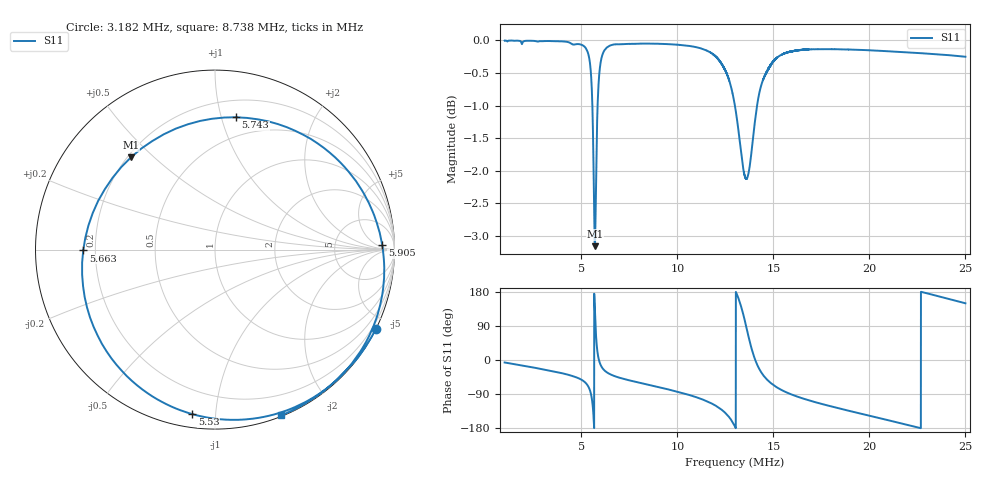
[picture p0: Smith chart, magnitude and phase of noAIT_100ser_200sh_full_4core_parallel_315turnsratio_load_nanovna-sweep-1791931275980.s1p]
! NanoVNA Web complex sweep
! Processing: unaveraged complex samples; linear segment spacing; no smoothing
# Hz S RI R 50
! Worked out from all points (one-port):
!   5050 points, 1 MHz to 25 MHz, reference 50 ohm
!   lowest |S11| = -3.2 dB at 5.701 MHz (marker M1), VSWR 5.56, Z = 10.7 + j21.2 ohm
!   |S11| at or under -10 dB: nowhere
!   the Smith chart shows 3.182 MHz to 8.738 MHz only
!   S11 on the Smith chart (normalised r, x): 3.182 MHz: 0.01, -4.29; 5.53 MHz: 0.07, -0.87; 5.663 MHz: 0.15, -0.00; 5.743 MHz: 0.33, +1.11; 5.905 MHz: 25, +9; 8.738 MHz: 0.01, -1.47
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1000000  0.993 -0.1143
3181627  0.8957 -0.4419
4003896  0.8173 -0.5728
5154122  0.5338 -0.8327
5377513  0.3044 -0.925
5529609  -0.1269 -0.9165
5662693  -0.7342 -0.00463
5700717  -0.4688 0.5135
5743494  0.116 0.7373
5810036  0.7226 0.4596
5905096  0.9316 0.0241
6223547  0.8638 -0.4708
7003039  0.6763 -0.7272
8737884  0.3677 -0.9236
1.000218e7  0.1085 -0.9865
1.204122e7  -0.5146 -0.8223
1.258781e7  -0.7657 -0.5466
1.300132e7  -0.8875 -0.0636
1.328175e7  -0.6958 0.4491
1.356218e7  -0.0352 0.7826
1.382359e7  0.6461 0.493
1.405174e7  0.87 0.00356
1.436544e7  0.7787 -0.4969
1.473617e7  0.5425 -0.78
1.600047e7  -0.0351 -0.9796
1.899961e7  -0.6945 -0.6969
2.199875e7  -0.9681 -0.1453
2.49979e7  -0.8384 0.4907
